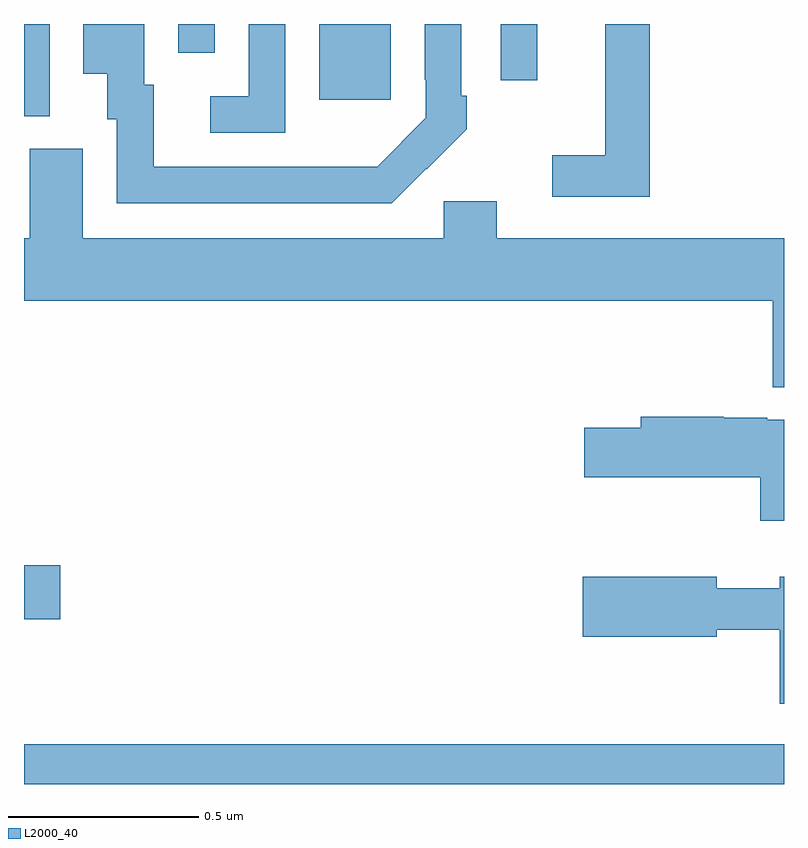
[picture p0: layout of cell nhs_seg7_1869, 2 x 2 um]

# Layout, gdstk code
import gdstk
lib = gdstk.Library(unit=1e-6, precision=1e-09)
def R(c, l, rs):  # rectangles x0, y0, x1, y1
    for r in rs: c.add(gdstk.rectangle(r[:2], r[2:], *l))
def P(c, l, *ps):  # polygons
    for p in ps: c.add(gdstk.Polygon(p, *l))
L2000_40 = (2000, 40)

nhs_seg7_1869 = lib.new_cell('nhs_seg7_1869')
R(nhs_seg7_1869, L2000_40, [(137,1010,139,1010.104), (137,1010.434,137.095,1010.576), (137,1011.757,137.068,1012), (137.777,1011.801,137.965,1012), (138.255,1011.852,138.351,1012), (137.406,1011.924,137.502,1012)])
P(nhs_seg7_1869, L2000_40, [(137.688,1012),(137.592,1012),(137.592,1011.81),(137.49,1011.81),(137.49,1011.714),(137.688,1011.714)],
  [(138.647,1012),(138.53,1012),(138.53,1011.655),(138.39,1011.655),(138.39,1011.546),(138.647,1011.546)],
  [(138.059,1011.619),(138.06,1011.618),(138.165,1011.723),(138.165,1011.811),(138.15,1011.811),(138.15,1012),(138.054,1012),(138.054,1011.853),(138.057,1011.853),(138.057,1011.753),(137.929,1011.625),(137.825,1011.625),(137.825,1011.624),(137.341,1011.624),(137.341,1011.84),(137.317,1011.84),(137.317,1012),(137.156,1012),(137.156,1011.869),(137.219,1011.869),(137.219,1011.75),(137.244,1011.75),(137.244,1011.528),(137.968,1011.528)],
  [(139,1011.436),(138.244,1011.436),(138.244,1011.534),(138.105,1011.534),(138.105,1011.436),(137.155,1011.436),(137.155,1011.672),(137.015,1011.672),(137.015,1011.436),(137,1011.436),(137,1011.272),(138.971,1011.272),(138.971,1011.044),(139,1011.044)],
  [(139,1010.959),(138.956,1010.959),(138.956,1010.964),(138.842,1010.964),(138.842,1010.967),(138.623,1010.967),(138.623,1010.937),(138.474,1010.937),(138.474,1010.807),(138.938,1010.807),(138.938,1010.693),(139,1010.693)],
  [(139,1010.545),(138.989,1010.545),(138.989,1010.515),(138.823,1010.515),(138.823,1010.545),(138.471,1010.545),(138.471,1010.387),(138.823,1010.387),(138.823,1010.406),(138.989,1010.406),(138.989,1010.211),(139,1010.211)])

lib.write_gds('nhs_seg7_1869.gds')
